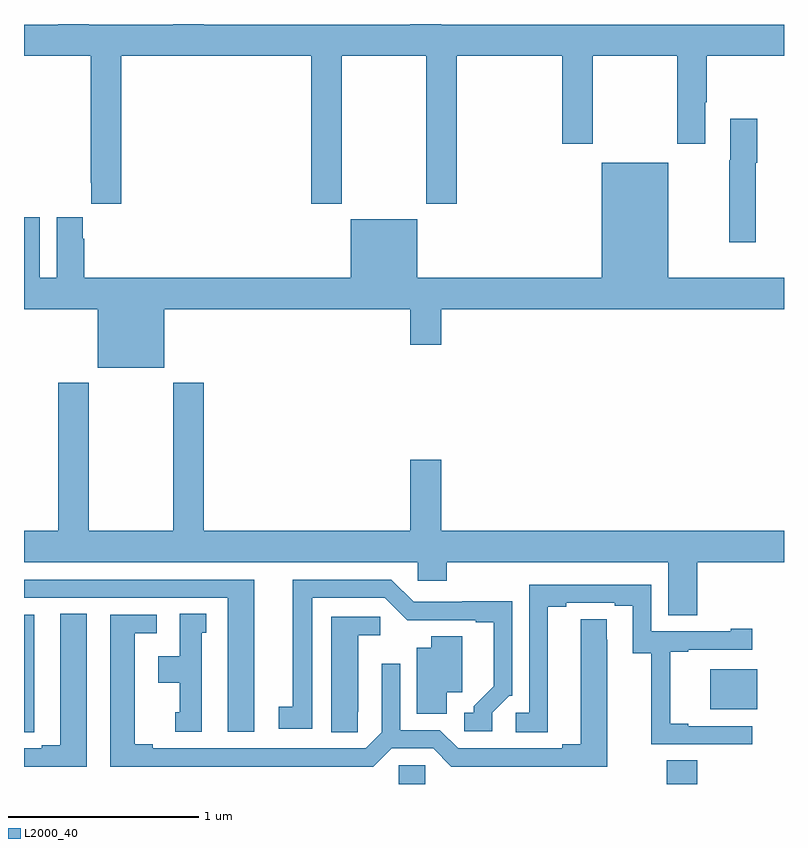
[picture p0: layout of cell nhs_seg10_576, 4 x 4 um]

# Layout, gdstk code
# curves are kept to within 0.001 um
import gdstk
lib = gdstk.Library(unit=1e-6, precision=1e-09)
def R(c, l, rs):  # rectangles x0, y0, x1, y1
    for r in rs: c.add(gdstk.rectangle(r[:2], r[2:], *l))
def P(c, l, *ps):  # polygons
    for p in ps: c.add(gdstk.Polygon(p, *l))
L2000_40 = (2000, 40)

nhs_seg10_576 = lib.new_cell('nhs_seg10_576')
R(nhs_seg10_576, L2000_40, [(140.973,1280.5,141.111,1280.598), (142.384,1280.5,142.544,1280.624), (142.613,1280.894,142.858,1281.103)])
P(nhs_seg10_576, L2000_40, [(139.511,1284.332),(140.513,1284.332),(140.513,1283.553),(140.673,1283.553),(140.673,1284.332),(141.118,1284.332),(141.118,1283.553),(141.278,1283.553),(141.278,1284.332),(141.833,1284.332),(141.833,1283.871),(141.993,1283.871),(141.993,1284.332),(142.438,1284.332),(142.438,1283.871),(142.585,1283.871),(142.585,1284.088),(142.593,1284.088),(142.593,1284.332),(143,1284.332),(143,1284.496),(141.196,1284.496),(141.196,1284.5),(141.032,1284.5),(141.032,1284.496),(139.946,1284.496),(139.946,1284.5),(139.786,1284.5),(139.786,1284.496),(139.341,1284.496),(139.341,1284.5),(139.181,1284.5),(139.181,1284.496),(139,1284.496),(139,1284.332),(139.351,1284.332),(139.351,1283.665),(139.355,1283.665),(139.355,1283.553),(139.511,1283.553)],
  [(142.852,1283.77),(142.86,1283.77),(142.86,1284.001),(142.718,1284.001),(142.718,1283.783),(142.711,1283.783),(142.711,1283.352),(142.852,1283.352)],
  [(139.738,1283),(141.032,1283),(141.032,1282.812),(141.196,1282.812),(141.196,1283),(143,1283),(143,1283.164),(142.39,1283.164),(142.39,1283.77),(142.04,1283.77),(142.04,1283.164),(141.07,1283.164),(141.07,1283.473),(140.72,1283.473),(140.72,1283.164),(139.316,1283.164),(139.316,1283.369),(139.309,1283.369),(139.309,1283.482),(139.172,1283.482),(139.172,1283.164),(139.084,1283.164),(139.084,1283.482),(139,1283.482),(139,1283),(139.388,1283),(139.388,1282.691),(139.738,1282.691)],
  [(142.544,1281.668),(143,1281.668),(143,1281.832),(141.196,1281.832),(141.196,1282.207),(141.032,1282.207),(141.032,1281.832),(139.946,1281.832),(139.946,1282.612),(139.786,1282.612),(139.786,1281.832),(139.341,1281.832),(139.341,1282.612),(139.181,1282.612),(139.181,1281.832),(139,1281.832),(139,1281.668),(141.072,1281.668),(141.072,1281.57),(141.224,1281.57),(141.224,1281.668),(142.391,1281.668),(142.391,1281.388),(142.544,1281.388)],
  [(141.465,1280.874),(141.555,1280.964),(141.57,1280.964),(141.57,1281.461),(141.307,1281.461),(141.307,1281.459),(141.051,1281.459),(140.934,1281.576),(140.414,1281.576),(140.414,1280.906),(140.34,1280.906),(140.34,1280.79),(140.518,1280.79),(140.518,1281.48),(140.898,1281.48),(141.016,1281.362),(141.377,1281.363),(141.377,1281.351),(141.473,1281.351),(141.473,1281.014),(141.368,1280.909),(141.368,1280.874),(141.318,1280.874),(141.318,1280.778),(141.465,1280.778)],
  [(140.212,1281.576),(139,1281.576),(139,1281.48),(140.072,1281.48),(140.072,1280.775),(140.212,1280.775)],
  [(142.834,1280.805),(142.495,1280.805),(142.495,1280.818),(142.4,1280.818),(142.4,1281.195),(142.495,1281.195),(142.495,1281.207),(142.834,1281.207),(142.834,1281.316),(142.721,1281.316),(142.721,1281.303),(142.302,1281.303),(142.302,1281.549),(141.66,1281.549),(141.66,1280.874),(141.588,1280.874),(141.588,1280.773),(141.757,1280.773),(141.757,1281.433),(141.853,1281.433),(141.853,1281.453),(142.109,1281.453),(142.109,1281.438),(142.205,1281.438),(142.205,1281.187),(142.3,1281.187),(142.3,1280.709),(142.834,1280.709)],
  [(139.936,1281.297),(139.96,1281.297),(139.96,1281.395),(139.82,1281.395),(139.82,1281.172),(139.706,1281.172),(139.706,1281.032),(139.82,1281.032),(139.82,1280.877),(139.796,1280.877),(139.796,1280.775),(139.936,1280.775)],
  [(139.33,1281.395),(139.19,1281.395),(139.19,1280.703),(139.094,1280.703),(139.094,1280.688),(139,1280.688),(139,1280.592),(139.33,1280.592)],
  [(139.053,1280.881),(139.054,1280.881),(139.054,1281.391),(139,1281.391),(139,1280.773),(139.053,1280.773)],
  [(140.935,1280.688),(141.153,1280.688),(141.249,1280.592),(142.069,1280.592),(142.068,1281.368),(141.929,1281.368),(141.929,1280.708),(141.833,1280.708),(141.833,1280.688),(141.285,1280.688),(141.189,1280.784),(140.979,1280.784),(140.979,1281.133),(140.883,1281.133),(140.883,1280.772),(140.799,1280.688),(139.678,1280.688),(139.678,1280.708),(139.582,1280.708),(139.582,1281.294),(139.699,1281.294),(139.699,1281.39),(139.454,1281.39),(139.454,1280.592),(140.839,1280.592)],
  [(140.757,1280.881),(140.758,1280.881),(140.758,1281.284),(140.875,1281.284),(140.875,1281.381),(140.618,1281.381),(140.618,1280.773),(140.757,1280.773)],
  [(141.226,1280.984),(141.307,1280.984),(141.307,1281.278),(141.143,1281.278),(141.143,1281.217),(141.068,1281.217),(141.068,1280.869),(141.226,1280.869)])

lib.write_gds('nhs_seg10_576.gds')
